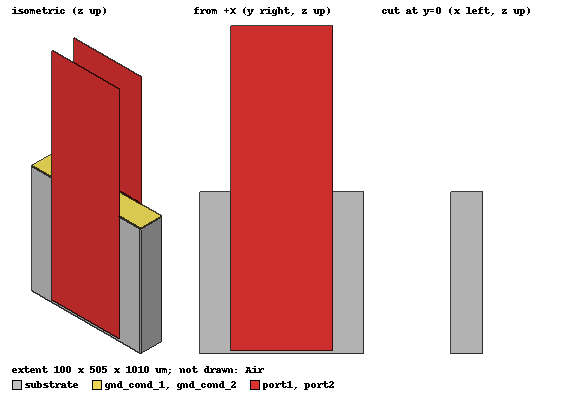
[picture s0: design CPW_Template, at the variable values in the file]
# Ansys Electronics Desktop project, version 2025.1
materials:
  vacuum: permittivity=1
  sapphire: permittivity=10 dielectric_loss_tangent=2e-05
  air: permittivity=1.0006 permeability=1.0000004
  gold: permeability=0.99996 conductivity=41000000
  SiC: permittivity=9.66 conductivity=0.001 dielectric_loss_tangent=0.003

design CPW_Template (HFSS, HFSS Terminal Network, model units um)
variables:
  subx = 100um
  suby = s + 2*(g+gnd_width)
  subz = 500um
  s = 55um
  g = 25um
  gnd_width = 200um
  Tmet = 0.2um
  air_box_h = portz +10um
  porty = 3*(2*g+s)
  portz = 2*subz
  airx = subx
  airy = suby+400um
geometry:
  substrate [SiC] = box(corner=(-subx/2, -suby/2, 0um), size=(subx, suby, subz))
  signal_dummy [vacuum, non-model] = substrate.section(plane=ZX)
  signal_dummy.thicken(s, both sides)
  gap_dummy1 [vacuum, non-model] = sweep_along_normal(signal_dummy.face(at (0, -27.5, 250)), length=g)
  gap_dummy2 [vacuum, non-model] = sweep_along_normal(signal_dummy.face(at (0, 27.5, 250)), length=g)
  gnd_dummy1 [vacuum, non-model] = sweep_along_normal(gap_dummy1.face(at (0, -52.5, 250)), length=gnd_width)
  gnd_dummy2 [vacuum, non-model] = sweep_along_normal(gap_dummy2.face(at (0, 52.5, 250)), length=gnd_width)
  signal_conductor [gold, solve inside] = sweep_along_normal(signal_dummy.face(at (0, 0, 500)), length=Tmet)
  gnd_cond_1 [gold, solve inside] = sweep_along_normal(gnd_dummy1.face(at (0, -152.5, 500)), length=Tmet)
  gnd_cond_2 [gold, solve inside] = sweep_along_normal(gnd_dummy2.face(at (0, 152.5, 500)), length=Tmet)
  Air [air] = box(corner=(-airx/2, -airy/2, 0), size=(airx, airy, air_box_h))
  port1 = rectangle(corner=(subx/2, -porty/2, 10um), y_size=porty, z_size=portz)
  port2 = rectangle(corner=(-subx/2, -porty/2, 10um), y_size=porty, z_size=portz)
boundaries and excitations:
  PerfE1: Perfect E Faces=substrate.face(-z) InfGroundPlane
  Rad1: Radiation Faces=Air.face(-y, +z, +y)
  1: Wave Port Objects=port1 WavePortType=Modal NumModes=1 Modes{Mode1{IntLine{(50, 27.5, 500.2) -> (50, 52.5, 500.2)} CharImp=Zpv}}
  2: Wave Port Objects=port2 WavePortType=Modal NumModes=1 Modes{Mode1{IntLine{(-50, 27.5, 500.2) -> (-50, 52.5, 500.2)} CharImp=Zpv}}
  reference conductors: gnd_cond_1, gnd_cond_2
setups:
  single_freq: HfssDriven Frequency=33.5GHz MaxDeltaS=0.02 MaximumPasses=6 MinimumPasses=1 MinimumConvergedPasses=1 PercentRefinement=30 BasisOrder=1 PortAccuracy=0.1 UseABCOnPort DrivenSolverType="Direct Solver"
    sweep Sweep: 5GHz to 40GHz, 401 points; Type=Interpolating InterpTolerance=0.5 InterpMaxSolns=250 PassivityErrorTolerance=0.0001
  broadband: HfssDriven MultipleAdaptiveFreqsSetup{Low=25GHz High=50GHz} MaxDeltaS=0.02 MaximumPasses=6 MinimumPasses=1 MinimumConvergedPasses=1 PercentRefinement=30 BasisOrder=1 PortAccuracy=0.1 UseABCOnPort DrivenSolverType="Direct Solver"
    sweep Sweep: 5GHz to 50GHz, 401 points; Type=Interpolating InterpTolerance=0.5 InterpMaxSolns=250 PassivityErrorTolerance=0.0001
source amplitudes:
  1:1: 1V 0deg
  2:1: 0V 0deg
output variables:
  Zo = 50*(1 + re(St(signal_conductor_T1,signal_conductor_T1)))/(1-re(St(signal_conductor_T1,signal_conductor_T1)))
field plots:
  Mag_E1: E Field on broadband : LastAdaptive at Freq=37.5GHz Phase=0deg
  Mag_Jsurf1: Jsurf over port1.face port2.face on broadband : LastAdaptive at Freq=37.5GHz Phase=0deg
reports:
  Terminal S Parameter Plot1: dB(St(1,1)) vs Freq on single_freq : Sweep; dB(St(1,1)) vs Freq on broadband : Sweep
  Terminal S Parameter Plot2: dB(St(1,2)) vs Freq on single_freq : Sweep; dB(St(1,2)) vs Freq on broadband : Sweep
  Terminal Port Zo Plot1: re(Zot(1,1)) vs Freq on single_freq : Sweep; re(Zot(1,1)) vs Freq on broadband : Sweep
